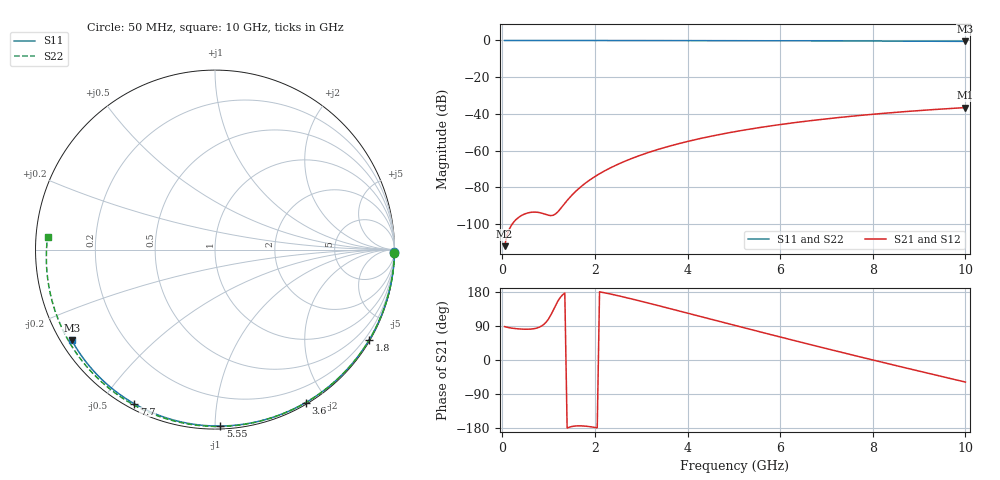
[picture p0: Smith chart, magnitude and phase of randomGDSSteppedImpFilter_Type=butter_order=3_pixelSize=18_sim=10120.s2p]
! freq	dB(S11)	phase(S11)	dB(S12)	phase(S12)
!  dB(S21)	phase(S21)	dB(S22)	phase(S22)
!S-par simulation data
#  GHz  S  DB  R 50
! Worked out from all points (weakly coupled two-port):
!   200 points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, 50 MHz to 10 GHz, reference 50 ohm
!   highest |S21| = -36.54 dB at 10 GHz (marker M1); lowest = -111.9 dB at 50 MHz (marker M2)
!   lowest |S11| = -0.5 dB at 10 GHz (marker M3), VSWR 34.86, Z = 1.55 - j14.4 ohm
!   |S11| at or under -10 dB: nowhere
!   |S22| runs from -0.6 to 0.0 dB; largest |S21 - S12| = 0
!   S11 on the Smith chart (normalised r, x): 50 MHz: open; 1.8 GHz: 0.03, -3.68; 3.6 GHz: 0.02, -1.76; 5.55 GHz: 0.02, -1.03; 7.7 GHz: 0.02, -0.60; 10 GHz: 0.03, -0.29
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0.05  -0.00 -0.9  -111.93 88.1  -111.93 88.1  -0.00 -1.1
0.4  -0.01 -6.9  -95.46 81.7  -95.46 81.7  -0.01 -8.7
0.8  -0.02 -13.7  -93.65 86.7  -93.65 86.7  -0.02 -17.3
1.2  -0.03 -20.4  -93.23 155.5  -93.23 155.5  -0.03 -25.8
1.65  -0.04 -27.9  -80.61 -173.8  -80.61 -173.8  -0.05 -35.3
1.7  -0.04 -28.8  -79.53 -173.8  -79.53 -173.8  -0.05 -36.3
1.75  -0.04 -29.6  -78.51 -174.2  -78.51 -174.2  -0.05 -37.4
1.8  -0.04 -30.4  -77.54 -174.6  -77.54 -174.6  -0.05 -38.4
2.1  -0.04 -35.4  -72.52 180.0  -72.52 180.0  -0.06 -44.6
2.5  -0.05 -41.9  -67.33 169.7  -67.33 169.7  -0.07 -52.7
2.9  -0.06 -48.3  -63.21 158.0  -63.21 158.0  -0.08 -60.6
3.4  -0.07 -56.2  -59.02 142.6  -59.02 142.6  -0.09 -70.4
3.6  -0.08 -59.3  -57.57 136.3  -57.57 136.3  -0.10 -74.2
4.3  -0.10 -70.0  -53.22 114.1  -53.22 114.1  -0.12 -87.2
5.05  -0.12 -81.1  -49.50 90.4  -49.50 90.4  -0.15 -100.7
5.55  -0.14 -88.3  -47.42 74.7  -47.42 74.7  -0.18 -109.4
6.1  -0.17 -96.0  -45.42 57.6  -45.42 57.6  -0.21 -118.8
6.7  -0.20 -104.3  -43.51 39.2  -43.51 39.2  -0.25 -128.9
7.7  -0.27 -117.7  -40.85 9.0  -40.85 9.0  -0.33 -145.4
8.35  -0.32 -126.2  -39.41 -10.3  -39.41 -10.3  -0.39 -156.2
9.2  -0.41 -137.3  -37.80 -35.1  -37.80 -35.1  -0.48 -170.5
10  -0.50 -147.8  -36.54 -58.2  -36.54 -58.2  -0.58 175.6
